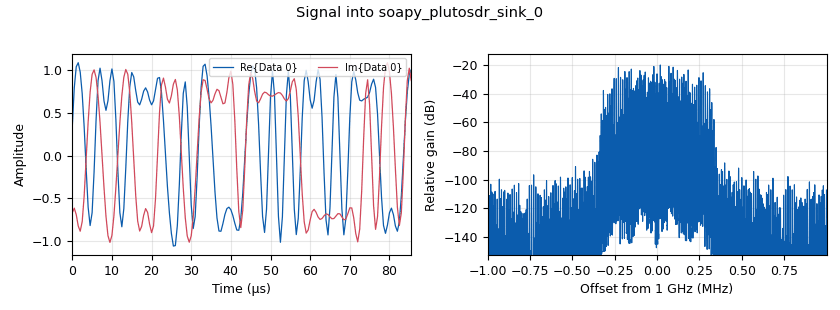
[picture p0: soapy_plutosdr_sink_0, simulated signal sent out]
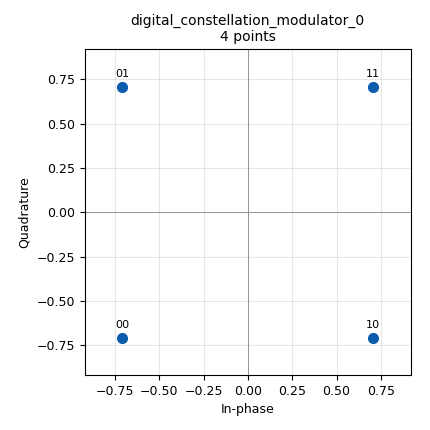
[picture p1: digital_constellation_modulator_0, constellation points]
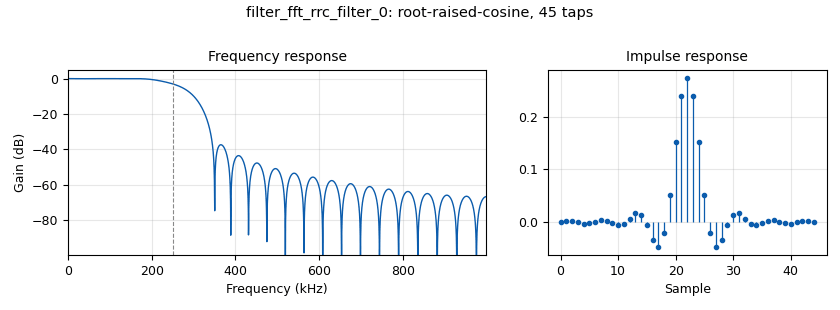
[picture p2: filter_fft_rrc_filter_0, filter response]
options:
  parameters:
    generate_options: qt_gui
    id: test1
    output_language: python
    title: Not titled yet
  states: {}

blocks:
- name: alpha
  id: variable
  parameters:
    value: '0.35'
  states: {}
- name: msg
  id: variable
  parameters:
    value: '"0001000101011100101001111010011110101011010110001111010101001111011101110110101"'
  states: {}
- name: qpsk_cons
  id: variable_constellation_rect
  parameters:
    const_points: '[-1-1j, -1+1j, 1+1j, 1-1j]'
    imag_sect: '2'
    real_sect: '2'
    rot_sym: '4'
    sym_map: '[0, 1, 3, 2]'
    w_imag_sect: '1'
    w_real_sect: '1'
  states: {}
- name: rrc_taps
  id: variable
  parameters:
    value: firdes.root_raised_cosine(1.0,samp_rate,samp_rate/sps,alpha,11*sps)
  states: {}
- name: samp_rate
  id: variable
  parameters:
    value: 2e6
  states: {}
- name: sdr_carrier_freq
  id: variable
  parameters:
    value: 1e9
  states: {}
- name: sps
  id: variable
  parameters:
    value: '4'
  states: {}
- name: analog_agc3_xx_0
  id: analog_agc3_xx
  parameters:
    attack_rate: '1e-3'
    decay_rate: '1e-4'
    gain: '1.0'
    iir_update_decim: '1'
    max_gain: '65536'
    reference: '1.0'
    type: complex
  states: {}
- name: analog_random_source_x_0
  id: analog_random_source_x
  parameters:
    max: '2'
    min: '0'
    num_samps: int(samp_rate)
    repeat: 'True'
    type: byte
  states: {state: disabled}
- name: blocks_pack_k_bits_bb_1
  id: blocks_pack_k_bits_bb
  parameters:
    k: '8'
  states: {}
- name: blocks_throttle2_0
  id: blocks_throttle2
  parameters:
    samples_per_second: samp_rate
    type: byte
  states: {state: bypassed}
- name: blocks_vector_source_x_1
  id: blocks_vector_source_x
  parameters:
    repeat: 'True'
    type: byte
    vector: '[int(num) for num in msg]'
  states: {}
- name: channels_channel_model_0
  id: channels_channel_model
  parameters:
    epsilon: '1.0'
    freq_offset: '0.0'
    noise_voltage: '0.0'
    seed: '0'
    taps: '1.0'
  states: {}
- name: digital_constellation_modulator_0
  id: digital_constellation_modulator
  parameters:
    constellation: qpsk_cons
    differential: 'False'
    excess_bw: alpha
    samples_per_symbol: sps
  states: {}
- name: digital_costas_loop_cc_0
  id: digital_costas_loop_cc
  parameters:
    order: '4'
    w: 2*math.pi/100
  states: {}
- name: digital_fll_band_edge_cc_0
  id: digital_fll_band_edge_cc
  parameters:
    filter_size: 11*sps
    rolloff: alpha
    samps_per_sym: sps
    type: cc
    w: '0.05'
  states: {}
- name: digital_symbol_sync_xx_0
  id: digital_symbol_sync_xx
  parameters:
    damping: '1.0'
    loop_bw: '0.045'
    max_dev: '1.5'
    osps: '1'
    resamp_type: digital.IR_MMSE_8TAP
    sps: sps
    ted_gain: '1.0'
    ted_type: digital.TED_SIGNAL_TIMES_SLOPE_ML
    type: cc
  states: {}
- name: fft_filter_xxx_0
  id: fft_filter_xxx
  parameters:
    decim: '1'
    taps: rrc_taps
    type: ccc
  states: {state: disabled}
- name: filter_fft_rrc_filter_0
  id: filter_fft_rrc_filter
  parameters:
    alpha: alpha
    decim: '1'
    gain: '1'
    ntaps: 11*sps
    samp_rate: samp_rate
    sym_rate: samp_rate/sps
    type: ccc
  states: {}
- name: import_0
  id: import
  parameters:
    imports: import math
  states: {}
- name: qtgui_const_sink_x_0
  id: qtgui_const_sink_x
  parameters:
    nconnections: '2'
    size: '1024'
    type: complex
  states: {}
- name: qtgui_freq_sink_x_0
  id: qtgui_freq_sink_x
  parameters:
    bw: samp_rate
    fc: '0'
    fftsize: '1024'
    nconnections: '3'
    type: complex
  states: {state: disabled}
- name: qtgui_number_sink_0
  id: qtgui_number_sink
  parameters:
    graph_type: qtgui.NUM_GRAPH_HORIZ
    label1: freq
    label2: phase
    label3: error
    nconnections: '3'
    type: float
  states: {}
- name: soapy_bladerf_source_0
  id: soapy_bladerf_source
  parameters:
    center_freq: sdr_carrier_freq
    gain: '40.0'
    samp_rate: samp_rate
    type: fc32
  states: {}
- name: soapy_plutosdr_sink_0
  id: soapy_plutosdr_sink
  parameters:
    center_freq: sdr_carrier_freq
    gain: '30'
    samp_rate: samp_rate
    type: fc32
  states: {}
- name: virtual_sink_0
  id: virtual_sink
  parameters:
    stream_id: transmitted_complex_signal
  states: {state: disabled}
- name: virtual_source_0
  id: virtual_source
  parameters:
    stream_id: transmitted_complex_signal
  states: {state: disabled}

connections:
- [analog_agc3_xx_0, '0', digital_fll_band_edge_cc_0, '0']
- [analog_random_source_x_0, '0', blocks_throttle2_0, '0']
- [blocks_pack_k_bits_bb_1, '0', digital_constellation_modulator_0, '0']
- [blocks_throttle2_0, '0', blocks_pack_k_bits_bb_1, '0']
- [blocks_vector_source_x_1, '0', blocks_throttle2_0, '0']
- [channels_channel_model_0, '0', qtgui_freq_sink_x_0, '0']
- [channels_channel_model_0, '0', soapy_plutosdr_sink_0, '0']
- [channels_channel_model_0, '0', virtual_sink_0, '0']
- [digital_constellation_modulator_0, '0', channels_channel_model_0, '0']
- [digital_costas_loop_cc_0, '0', qtgui_const_sink_x_0, '1']
- [digital_fll_band_edge_cc_0, '0', digital_symbol_sync_xx_0, '0']
- [digital_fll_band_edge_cc_0, '0', qtgui_freq_sink_x_0, '2']
- [digital_fll_band_edge_cc_0, '1', qtgui_number_sink_0, '0']
- [digital_fll_band_edge_cc_0, '2', qtgui_number_sink_0, '1']
- [digital_fll_band_edge_cc_0, '3', qtgui_number_sink_0, '2']
- [digital_symbol_sync_xx_0, '0', digital_costas_loop_cc_0, '0']
- [digital_symbol_sync_xx_0, '0', qtgui_const_sink_x_0, '0']
- [fft_filter_xxx_0, '0', digital_fll_band_edge_cc_0, '0']
- [fft_filter_xxx_0, '0', digital_symbol_sync_xx_0, '0']
- [filter_fft_rrc_filter_0, '0', analog_agc3_xx_0, '0']
- [soapy_bladerf_source_0, '0', filter_fft_rrc_filter_0, '0']

metadata:
  file_format: 1
  grc_version: 3.10.12.0
